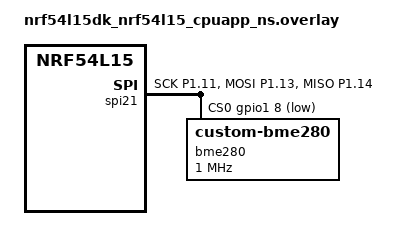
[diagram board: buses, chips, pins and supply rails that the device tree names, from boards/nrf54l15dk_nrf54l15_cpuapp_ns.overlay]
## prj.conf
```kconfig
CONFIG_LOG=y

CONFIG_CBPRINTF_FP_SUPPORT=y
CONFIG_RESET_ON_FATAL_ERROR=n

CONFIG_SENSOR=y
CONFIG_CUSTOM_BME280=y

CONFIG_PM_DEVICE=y
CONFIG_PM_DEVICE_RUNTIME=y
```

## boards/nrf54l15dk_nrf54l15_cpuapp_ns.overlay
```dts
&spi21 {
    compatible = "nordic,nrf-spim";
	status = "okay";
	pinctrl-0 = <&spi21_default>;
	pinctrl-1 = <&spi21_sleep>;
	pinctrl-names = "default", "sleep";
	cs-gpios = <&gpio1 8 GPIO_ACTIVE_LOW>;

	zephyr,pm-device-runtime-auto;

	/*STEP 8.3 Create bme280 node */
	bme280: bme280@0 {
		compatible = "zephyr,custom-bme280";
		reg = <0>;
		spi-max-frequency = <1000000>; // 1MHz
		zephyr,pm-device-runtime-auto;
	};

};


&pinctrl {
	spi21_default: spi21_default {
		group1 {
				psels = <NRF_PSEL(SPIM_SCK, 1, 11)>,
						<NRF_PSEL(SPIM_MOSI, 1, 13)>,
						<NRF_PSEL(SPIM_MISO, 1, 14)>;
		};
	};

	spi21_sleep: spi21_sleep {
		group1 {
				psels = <NRF_PSEL(SPIM_SCK, 1, 11)>,
						<NRF_PSEL(SPIM_MOSI, 1, 13)>,
						<NRF_PSEL(SPIM_MISO, 1, 14)>;
				low-power-enable;
		};
	};
};
```

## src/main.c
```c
/*
 * Copyright (c) 2021 Nordic Semiconductor ASA
 * SPDX-License-Identifier: Apache-2.0
 */

#include <zephyr/kernel.h>
#include <zephyr/drivers/sensor.h>
#include <zephyr/logging/log.h>

LOG_MODULE_REGISTER(Lesson7_Exercise1, LOG_LEVEL_INF);
 
const struct device * dev = DEVICE_DT_GET(DT_NODELABEL(bme280));
 
int main(void)
{
    int err;

    LOG_INF("Lesson 7 - Exercise 1 started");

    struct sensor_value temp_val, press_val, hum_val;

    err = device_is_ready(dev);
    if (!err) {
        LOG_INF("Error: SPI device is not ready, err: %d", err);
        return 0;
    }

    while (1) {
        err = sensor_sample_fetch(dev);
        if (err < 0) {
            LOG_ERR("Could not fetch sample (%d)", err);
                return 0;
        }

        if (sensor_channel_get(dev, SENSOR_CHAN_AMBIENT_TEMP, &temp_val)) {
            LOG_ERR("Could not get sample");
            return 0;
        }
                
        if (sensor_channel_get(dev, SENSOR_CHAN_PRESS, &press_val)) {
            LOG_ERR("Could not get sample");
            return 0;
        }
            
        if (sensor_channel_get(dev, SENSOR_CHAN_HUMIDITY, &hum_val)) {
            LOG_ERR("Could not get sample");
            return 0;
        }

        LOG_INF("Compensated temperature value: %d", temp_val.val1);
        LOG_INF("Compensated pressure value: %d", press_val.val1);
        LOG_INF("Compensated humidity value: %d", hum_val.val1); 
        
        k_sleep(K_MSEC(1000));
    }
    
    return 0;
}
```
